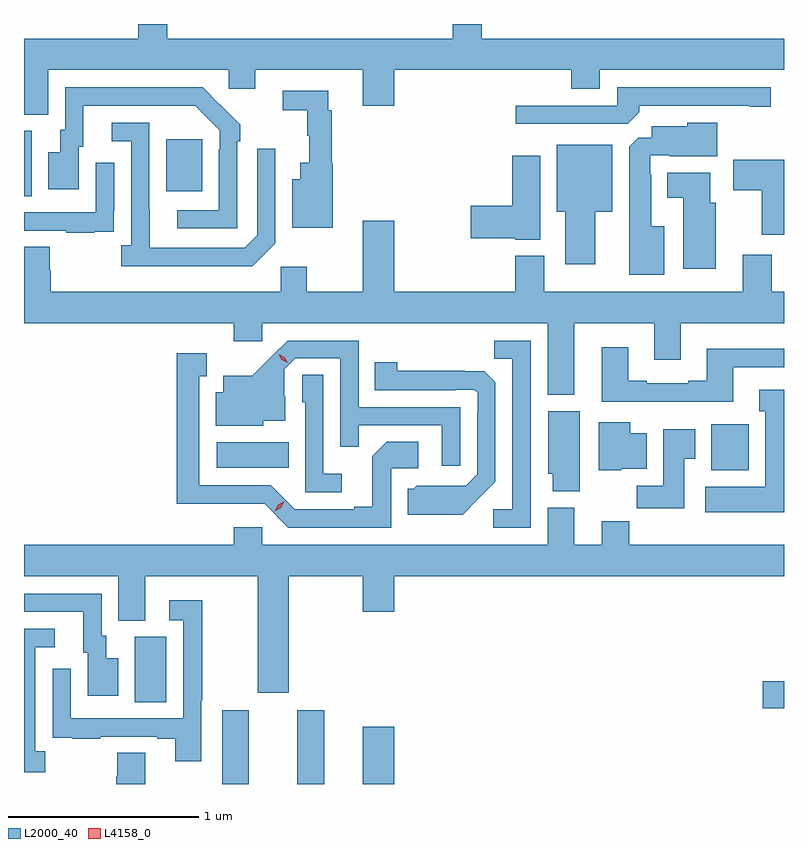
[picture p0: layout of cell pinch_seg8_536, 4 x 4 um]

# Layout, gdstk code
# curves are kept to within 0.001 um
import gdstk
lib = gdstk.Library(unit=1e-6, precision=1e-09)
def R(c, l, rs):  # rectangles x0, y0, x1, y1
    for r in rs: c.add(gdstk.rectangle(r[:2], r[2:], *l))
def P(c, l, *ps):  # polygons
    for p in ps: c.add(gdstk.Polygon(p, *l))
L2000_40 = (2000, 40)
L4158_0 = (4158, 0)

pinch_seg8_536 = lib.new_cell('pinch_seg8_536')
R(pinch_seg8_536, L2000_40, [(116.315,1111.41,116.455,1111.798), (116.711,1111.41,116.851,1111.798), (117.056,1111.41,117.22,1111.711), (119.16,1111.81,119.272,1111.952), (115.856,1111.84,116.02,1112.184), (118.889,1113.062,119.086,1113.304), (116.286,1113.074,116.666,1113.208), (115.272,1114.504,115.312,1114.848), (116.021,1114.529,116.209,1114.804)])
P(pinch_seg8_536, L2000_40, [(115.399,1115.168),(116.349,1115.168),(116.349,1115.07),(116.488,1115.07),(116.488,1115.168),(117.056,1115.168),(117.056,1114.98),(117.22,1114.98),(117.22,1115.168),(118.151,1115.168),(118.151,1115.069),(118.303,1115.069),(118.303,1115.168),(119.272,1115.168),(119.272,1115.332),(117.68,1115.332),(117.68,1115.41),(117.528,1115.41),(117.528,1115.332),(116.026,1115.332),(116.026,1115.41),(115.874,1115.41),(115.874,1115.332),(115.272,1115.332),(115.272,1114.933),(115.399,1114.933)],
  [(118.511,1114.946),(118.511,1114.98),(119.09,1114.98),(119.09,1114.975),(119.203,1114.975),(119.203,1115.076),(118.395,1115.076),(118.395,1114.98),(117.861,1114.98),(117.861,1114.884),(118.449,1114.884)],
  [(116.394,1114.793),(116.409,1114.793),(116.409,1114.881),(116.212,1115.076),(115.488,1115.076),(115.488,1114.854),(115.463,1114.854),(115.463,1114.735),(115.4,1114.735),(115.4,1114.539),(115.561,1114.539),(115.561,1114.764),(115.585,1114.764),(115.585,1114.98),(116.173,1114.98),(116.301,1114.851),(116.301,1114.751),(116.298,1114.751),(116.298,1114.431),(116.079,1114.431),(116.079,1114.335),(116.394,1114.335)],
  [(116.897,1114.677),(116.891,1114.677),(116.891,1114.955),(116.873,1114.955),(116.873,1115.058),(116.634,1115.058),(116.634,1114.957),(116.763,1114.957),(116.763,1114.821),(116.774,1114.821),(116.774,1114.681),(116.726,1114.681),(116.726,1114.594),(116.684,1114.594),(116.684,1114.337),(116.897,1114.337)],
  [(118.642,1114.345),(118.573,1114.345),(118.573,1114.619),(118.569,1114.619),(118.569,1114.719),(118.669,1114.719),(118.669,1114.715),(118.921,1114.715),(118.921,1114.891),(118.764,1114.891),(118.764,1114.873),(118.577,1114.873),(118.577,1114.812),(118.506,1114.812),(118.457,1114.763),(118.457,1114.091),(118.642,1114.091)],
  [(116.595,1114.257),(116.595,1114.753),(116.499,1114.753),(116.499,1114.299),(116.433,1114.233),(115.933,1114.233),(115.932,1114.89),(115.734,1114.89),(115.734,1114.794),(115.836,1114.794),(115.836,1114.246),(115.785,1114.246),(115.785,1114.136),(116.474,1114.136)],
  [(118.279,1114.421),(118.369,1114.421),(118.369,1114.774),(118.076,1114.774),(118.076,1114.421),(118.121,1114.421),(118.121,1114.146),(118.279,1114.146)],
  [(117.988,1114.717),(117.842,1114.717),(117.842,1114.454),(117.624,1114.454),(117.624,1114.283),(117.858,1114.283),(117.858,1114.274),(117.988,1114.274)],
  [(119.272,1114.696),(119.004,1114.696),(119.004,1114.534),(119.156,1114.534),(119.156,1114.301),(119.272,1114.301)],
  [(115.643,1114.317),(115.745,1114.317),(115.745,1114.426),(115.746,1114.426),(115.746,1114.681),(115.65,1114.681),(115.65,1114.419),(115.272,1114.419),(115.272,1114.323),(115.495,1114.323),(115.495,1114.311),(115.643,1114.311)],
  [(118.912,1114.47),(118.885,1114.47),(118.885,1114.627),(118.658,1114.627),(118.658,1114.496),(118.742,1114.496),(118.742,1114.122),(118.912,1114.122)],
  [(118.168,1113.836),(118.589,1113.836),(118.589,1113.642),(118.729,1113.642),(118.729,1113.836),(119.272,1113.836),(119.272,1114),(119.207,1114),(119.207,1114.195),(119.054,1114.195),(119.054,1114),(118.009,1114),(118.009,1114.189),(117.857,1114.189),(117.857,1114),(117.22,1114),(117.22,1114.375),(117.056,1114.375),(117.056,1114),(116.761,1114),(116.761,1114.132),(116.622,1114.132),(116.622,1114),(115.412,1114),(115.412,1114.113),(115.407,1114.113),(115.407,1114.238),(115.272,1114.238),(115.272,1113.836),(116.375,1113.836),(116.375,1113.741),(116.526,1113.741),(116.526,1113.836),(118.028,1113.836),(118.028,1113.458),(118.168,1113.458)],
  [(117.939,1113.744),(117.748,1113.744),(117.748,1113.649),(117.843,1113.649),(117.843,1112.856),(117.741,1112.856),(117.741,1112.76),(117.939,1112.76)],
  [(117.567,1113.393),(117.033,1113.393),(117.033,1113.744),(116.66,1113.744),(116.473,1113.559),(116.321,1113.559),(116.321,1113.472),(116.282,1113.472),(116.282,1113.296),(116.532,1113.296),(116.532,1113.323),(116.647,1113.323),(116.647,1113.452),(116.643,1113.452),(116.643,1113.594),(116.7,1113.651),(116.937,1113.651),(116.937,1113.184),(117.035,1113.184),(117.035,1113.297),(117.471,1113.297),(117.471,1113.084),(117.567,1113.084)],
  [(119.005,1113.603),(119.272,1113.603),(119.272,1113.7),(118.865,1113.7),(118.865,1113.532),(118.769,1113.532),(118.769,1113.519),(118.549,1113.519),(118.549,1113.532),(118.453,1113.532),(118.453,1113.709),(118.313,1113.709),(118.313,1113.422),(119.005,1113.422)],
  [(117.204,1113.072),(117.346,1113.072),(117.346,1113.212),(117.181,1113.212),(117.105,1113.136),(117.105,1112.869),(117.011,1112.869),(117.011,1112.856),(116.697,1112.856),(116.571,1112.982),(116.194,1112.982),(116.194,1113.555),(116.233,1113.555),(116.233,1113.676),(116.076,1113.676),(116.076,1112.885),(116.538,1112.886),(116.664,1112.76),(117.204,1112.76)],
  [(117.661,1112.909),(117.753,1113.002),(117.753,1113.524),(117.694,1113.583),(117.237,1113.584),(117.237,1113.631),(117.118,1113.631),(117.118,1113.483),(117.542,1113.483),(117.542,1113.486),(117.642,1113.486),(117.66,1113.468),(117.66,1113.368),(117.657,1113.368),(117.657,1113.039),(117.597,1112.979),(117.34,1112.98),(117.324,1112.964),(117.293,1112.964),(117.293,1112.828),(117.581,1112.828)],
  [(116.944,1113.043),(116.847,1113.043),(116.847,1113.563),(116.736,1113.563),(116.736,1113.42),(116.751,1113.42),(116.751,1112.946),(116.944,1112.946)],
  [(119.272,1113.484),(119.141,1113.484),(119.141,1113.371),(119.174,1113.371),(119.174,1112.974),(118.857,1112.974),(118.857,1112.84),(119.272,1112.84)],
  [(118.198,1113.373),(118.031,1113.373),(118.031,1113.042),(118.055,1113.042),(118.055,1112.951),(118.198,1112.951)],
  [(118.416,1113.068),(118.549,1113.068),(118.549,1113.256),(118.462,1113.256),(118.462,1113.313),(118.298,1113.313),(118.298,1113.062),(118.416,1113.062)],
  [(118.747,1113.121),(118.804,1113.121),(118.804,1113.277),(118.637,1113.277),(118.637,1112.98),(118.498,1112.98),(118.498,1112.862),(118.747,1112.862)],
  [(116.665,1112.504),(117.056,1112.504),(117.056,1112.316),(117.22,1112.316),(117.22,1112.504),(119.272,1112.504),(119.272,1112.668),(118.457,1112.668),(118.457,1112.792),(118.313,1112.792),(118.313,1112.668),(118.168,1112.668),(118.168,1112.863),(118.028,1112.863),(118.028,1112.668),(116.526,1112.668),(116.526,1112.761),(116.375,1112.761),(116.375,1112.668),(115.272,1112.668),(115.272,1112.504),(115.769,1112.504),(115.769,1112.269),(115.909,1112.269),(115.909,1112.504),(116.501,1112.504),(116.501,1111.89),(116.665,1111.89)],
  [(115.768,1112.071),(115.705,1112.071),(115.705,1112.19),(115.68,1112.19),(115.68,1112.412),(115.272,1112.412),(115.272,1112.316),(115.583,1112.316),(115.583,1112.1),(115.607,1112.1),(115.607,1111.875),(115.768,1111.875)],
  [(116.205,1111.852),(116.21,1111.852),(116.21,1112.377),(116.037,1112.377),(116.037,1112.271),(116.109,1112.271),(116.109,1111.755),(115.518,1111.755),(115.518,1112.017),(115.422,1112.017),(115.422,1111.762),(115.423,1111.762),(115.423,1111.653),(115.525,1111.653),(115.525,1111.647),(115.673,1111.647),(115.673,1111.659),(115.973,1111.659),(115.973,1111.647),(116.069,1111.647),(116.069,1111.53),(116.205,1111.53)],
  [(115.384,1111.582),(115.332,1111.582),(115.332,1112.13),(115.435,1112.13),(115.435,1112.226),(115.272,1112.226),(115.272,1111.472),(115.384,1111.472)],
  [(115.909,1111.574),(115.762,1111.574),(115.762,1111.449),(115.757,1111.449),(115.757,1111.41),(115.909,1111.41)])
P(pinch_seg8_536, L4158_0, [(116.659,1113.626),(116.628,1113.642),(116.612,1113.672),(116.612,1113.672),(116.612,1113.672),(116.642,1113.657),(116.659,1113.627),(116.659,1113.626)],
  [(116.592,1112.846),(116.592,1112.846),(116.61,1112.879),(116.642,1112.898),(116.642,1112.898),(116.642,1112.897),(116.624,1112.865),(116.593,1112.846)])

lib.write_gds('pinch_seg8_536.gds')
